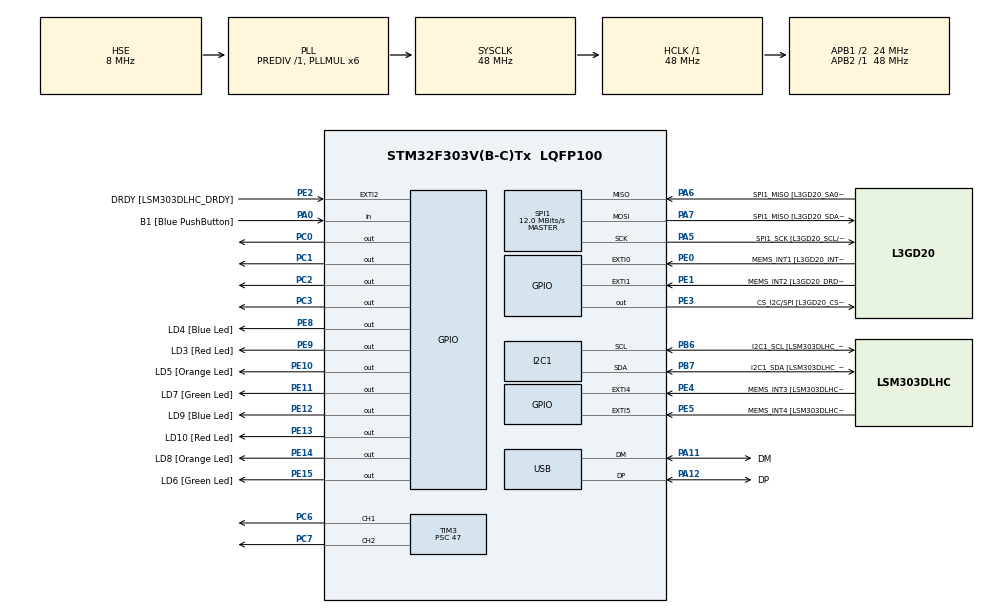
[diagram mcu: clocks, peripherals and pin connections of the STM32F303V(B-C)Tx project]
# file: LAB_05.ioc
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I2C1.Timing=0x00201D2B
I2C1.Timing-I2C=0x2000090E
Mcu.Family=STM32F3
Mcu.Name=STM32F303V(B-C)Tx
Mcu.Package=LQFP100
NVIC.PriorityGroup=NVIC_PRIORITYGROUP_0
PA0.GPIO_Label=B1 [Blue PushButton]
PA0.Signal=GPIO_Input
PA11.GPIO_Label=DM
PA11.Mode=Device
PA11.Signal=USB_DM
PA12.GPIO_Label=DP
PA12.Mode=Device
PA12.Signal=USB_DP
PA13.GPIO_Label=SWDIO
PA13.Mode=Serial_Wire
PA13.Signal=SYS_JTMS-SWDIO
PA14.GPIO_Label=SWCLK
PA14.Mode=Serial_Wire
PA14.Signal=SYS_JTCK-SWCLK
PA5.GPIO_Label=SPI1_SCK [L3GD20_SCL/SPC]
PA5.Mode=Full_Duplex_Master
PA5.Signal=SPI1_SCK
PA6.GPIO_Label=SPI1_MISO [L3GD20_SA0/SDO]
PA6.Mode=Full_Duplex_Master
PA6.Signal=SPI1_MISO
PA7.GPIO_Label=SPI1_MISO [L3GD20_SDA/SDI/SDO]
PA7.Mode=Full_Duplex_Master
PA7.Signal=SPI1_MOSI
PB3.GPIO_Label=SWO
PB3.Signal=SYS_JTDO-TRACESWO
PB6.GPIO_Label=I2C1_SCL [LSM303DLHC_SCL]
PB6.GPIO_Pu=GPIO_PULLUP
PB6.Mode=I2C
PB6.Signal=I2C1_SCL
PB7.GPIO_Label=I2C1_SDA [LSM303DLHC_SDA]
PB7.GPIO_Pu=GPIO_PULLUP
PB7.Mode=I2C
PB7.Signal=I2C1_SDA
PC0.Signal=GPIO_Output
PC1.Signal=GPIO_Output
PC14-OSC32_IN.GPIO_Label=OSC32_IN
PC14-OSC32_IN.Signal=RCC_OSC32_IN
PC15-OSC32_OUT.GPIO_Label=OSC32_OUT
PC15-OSC32_OUT.Signal=RCC_OSC32_OUT
PC2.Signal=GPIO_Output
PC3.Signal=GPIO_Output
PC6.Signal=S_TIM3_CH1
PC7.Signal=S_TIM3_CH2
PE0.GPIO_Label=MEMS_INT1 [L3GD20_INT1]
PE0.GPIO_ModeDefaultEXTI=GPIO_MODE_EVT_RISING
PE0.Signal=GPXTI0
PE1.GPIO_Label=MEMS_INT2 [L3GD20_DRDY/INT2]
PE1.GPIO_ModeDefaultEXTI=GPIO_MODE_EVT_RISING
PE1.Signal=GPXTI1
PE10.GPIO_Label=LD5 [Orange Led]
PE10.Signal=GPIO_Output
PE11.GPIO_Label=LD7 [Green Led]
PE11.Signal=GPIO_Output
PE12.GPIO_Label=LD9 [Blue Led]
PE12.Signal=GPIO_Output
PE13.GPIO_Label=LD10 [Red Led]
PE13.Signal=GPIO_Output
PE14.GPIO_Label=LD8 [Orange Led]
PE14.Signal=GPIO_Output
PE15.GPIO_Label=LD6 [Green Led]
PE15.Signal=GPIO_Output
PE2.GPIO_Label=DRDY [LSM303DLHC_DRDY]
PE2.GPIO_ModeDefaultEXTI=GPIO_MODE_EVT_RISING
PE2.Signal=GPXTI2
PE3.GPIO_Label=CS_I2C/SPI [L3GD20_CS_I2C/SPI]
PE3.Signal=GPIO_Output
PE4.GPIO_Label=MEMS_INT3 [LSM303DLHC_INT1]
PE4.GPIO_ModeDefaultEXTI=GPIO_MODE_EVT_RISING
PE4.Signal=GPXTI4
PE5.GPIO_Label=MEMS_INT4 [LSM303DLHC_INT2]
PE5.GPIO_ModeDefaultEXTI=GPIO_MODE_EVT_RISING
PE5.Signal=GPXTI5
PE8.GPIO_Label=LD4 [Blue Led]
PE8.Signal=GPIO_Output
PE9.GPIO_Label=LD3 [Red Led]
PE9.Signal=GPIO_Output
PF0-OSC_IN.GPIO_Label=OSC_IN
PF0-OSC_IN.Mode=HSE-External-Clock-Source
PF0-OSC_IN.Signal=RCC_OSC_IN
PF1-OSC_OUT.GPIO_Label=OSC_OUT
PF1-OSC_OUT.Signal=RCC_OSC_OUT
ProjectManager.HeapSize=0x200
ProjectManager.StackSize=0x400
ProjectManager.TargetToolchain=CMake
RCC.AHBFreq_Value=48000000
RCC.APB1CLKDivider=RCC_HCLK_DIV2
RCC.APB1Freq_Value=24000000
RCC.APB1TimFreq_Value=48000000
RCC.APB2Freq_Value=48000000
RCC.APB2TimFreq_Value=48000000
RCC.CortexFreq_Value=48000000
RCC.HCLKFreq_Value=48000000
RCC.HSE_VALUE=8000000
RCC.HSI_VALUE=8000000
RCC.LSE_VALUE=32768
RCC.PLLMUL=RCC_PLL_MUL6
RCC.SYSCLKFreq_VALUE=48000000
RCC.SYSCLKSourceVirtual=RCC_SYSCLKSOURCE_PLLCLK
RCC.USBFreq_Value=48000000
SH.S_TIM3_CH1.0=TIM3_CH1,PWM Generation1 CH1
SH.S_TIM3_CH2.0=TIM3_CH2,PWM Generation2 CH2
SPI1.BaudRatePrescaler=SPI_BAUDRATEPRESCALER_4
SPI1.BaudRatePrescaler-Full_Duplex_Master=SPI_BAUDRATEPRESCALER_2
SPI1.CalculateBaudRate=12.0 MBits/s
SPI1.CalculateBaudRate-Full_Duplex_Master=24.0 MBits/s
SPI1.Direction=SPI_DIRECTION_2LINES
SPI1.Mode=SPI_MODE_MASTER
SPI1.Mode-Full_Duplex_Master=SPI_MODE_MASTER
SPI1.VirtualType=VM_MASTER
TIM3.Channel-PWM\ Generation1\ CH1=TIM_CHANNEL_1
TIM3.Channel-PWM\ Generation2\ CH2=TIM_CHANNEL_2
TIM3.Period=999
TIM3.Prescaler=47
board=STM32F3DISCOVERY

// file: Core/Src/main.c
/* USER CODE BEGIN Header */
/**
  ******************************************************************************
  * @file           : main.c
  * @brief          : Main program body
  ******************************************************************************
  * @attention
  *
  * Copyright (c) 2026 STMicroelectronics.
  * All rights reserved.
  *
  * This software is licensed under terms that can be found in the LICENSE file
  * in the root directory of this software component.
  * If no LICENSE file comes with this software, it is provided AS-IS.
  *
  ******************************************************************************
  */
/* USER CODE END Header */
#include "main.h"

I2C_HandleTypeDef hi2c1;

SPI_HandleTypeDef hspi1;

TIM_HandleTypeDef htim3;

PCD_HandleTypeDef hpcd_USB_FS;

void SystemClock_Config(void);
static void MX_GPIO_Init(void);
static void MX_I2C1_Init(void);
static void MX_SPI1_Init(void);
static void MX_TIM3_Init(void);
static void MX_USB_PCD_Init(void);

/* USER CODE BEGIN 0 */
void right_mf(void){
  HAL_GPIO_WritePin(GPIOC, GPIO_PIN_0, GPIO_PIN_SET);
  HAL_GPIO_WritePin(GPIOC, GPIO_PIN_1, GPIO_PIN_RESET);

  __HAL_TIM_SET_COMPARE(&htim3, TIM_CHANNEL_1, 500);

}

void right_mr(void){
  HAL_GPIO_WritePin(GPIOC, GPIO_PIN_0, GPIO_PIN_RESET);
  HAL_GPIO_WritePin(GPIOC, GPIO_PIN_1, GPIO_PIN_SET);

  __HAL_TIM_SET_COMPARE(&htim3, TIM_CHANNEL_1, 500);

}

void left_mf(void){
  HAL_GPIO_WritePin(GPIOC, GPIO_PIN_2, GPIO_PIN_SET);
  HAL_GPIO_WritePin(GPIOC, GPIO_PIN_3, GPIO_PIN_RESET);

  __HAL_TIM_SET_COMPARE(&htim3, TIM_CHANNEL_2, 500);
}

void left_mr(void){
  HAL_GPIO_WritePin(GPIOC, GPIO_PIN_2, GPIO_PIN_RESET);
  HAL_GPIO_WritePin(GPIOC, GPIO_PIN_3, GPIO_PIN_SET);

  __HAL_TIM_SET_COMPARE(&htim3, TIM_CHANNEL_2, 500);
}
/* USER CODE END 0 */

int main(void)
{

  /* MCU Configuration--------------------------------------------------------*/

  /* Reset of all peripherals, Initializes the Flash interface and the Systick. */
  HAL_Init();

  /* Configure the system clock */
  SystemClock_Config();

  /* Initialize all configured peripherals */
  MX_GPIO_Init();
  MX_I2C1_Init();
  MX_SPI1_Init();
  MX_TIM3_Init();
  MX_USB_PCD_Init();
  /* USER CODE BEGIN 2 */
  // Start PWM
  HAL_TIM_PWM_Start (&htim3 , TIM_CHANNEL_1 );
  HAL_TIM_PWM_Start (&htim3 , TIM_CHANNEL_2 );

  /* USER CODE END 2 */

  /* Infinite loop */
  /* USER CODE BEGIN WHILE */
  while (1)
  {

      // TASK_1
      // for(uint16_t i = 0; i < 1000; i++)
      // {
      //     __HAL_TIM_SET_COMPARE(&htim3, TIM_CHANNEL_1, i);
      //     HAL_Delay(1);
      // }
      // for(uint16_t i = 1000; i > 0; i--)
      // {
      //     __HAL_TIM_SET_COMPARE(&htim3, TIM_CHANNEL_1, i);
      //     HAL_Delay(1);
      // }

      // TASK_2
      right_mf();
      left_mf();
      HAL_Delay(2000);
      right_mr();
      left_mr();
      HAL_Delay(2000);
    /* USER CODE END WHILE */

  }
}

void SystemClock_Config(void)
{
  RCC_OscInitTypeDef RCC_OscInitStruct = {0};
  RCC_ClkInitTypeDef RCC_ClkInitStruct = {0};
  RCC_PeriphCLKInitTypeDef PeriphClkInit = {0};

  /** Initializes the RCC Oscillators according to the specified parameters
  * in the RCC_OscInitTypeDef structure.
  */
  RCC_OscInitStruct.OscillatorType = RCC_OSCILLATORTYPE_HSI|RCC_OSCILLATORTYPE_HSE;
  RCC_OscInitStruct.HSEState = RCC_HSE_BYPASS;
  RCC_OscInitStruct.HSEPredivValue = RCC_HSE_PREDIV_DIV1;
  RCC_OscInitStruct.HSIState = RCC_HSI_ON;
  RCC_OscInitStruct.HSICalibrationValue = RCC_HSICALIBRATION_DEFAULT;
  RCC_OscInitStruct.PLL.PLLState = RCC_PLL_ON;
  RCC_OscInitStruct.PLL.PLLSource = RCC_PLLSOURCE_HSE;
  RCC_OscInitStruct.PLL.PLLMUL = RCC_PLL_MUL6;
  if (HAL_RCC_OscConfig(&RCC_OscInitStruct) != HAL_OK)
  {
    Error_Handler();
  }

  /** Initializes the CPU, AHB and APB buses clocks
  */
  RCC_ClkInitStruct.ClockType = RCC_CLOCKTYPE_HCLK|RCC_CLOCKTYPE_SYSCLK
                              |RCC_CLOCKTYPE_PCLK1|RCC_CLOCKTYPE_PCLK2;
  RCC_ClkInitStruct.SYSCLKSource = RCC_SYSCLKSOURCE_PLLCLK;
  RCC_ClkInitStruct.AHBCLKDivider = RCC_SYSCLK_DIV1;
  RCC_ClkInitStruct.APB1CLKDivider = RCC_HCLK_DIV2;
  RCC_ClkInitStruct.APB2CLKDivider = RCC_HCLK_DIV1;

  if (HAL_RCC_ClockConfig(&RCC_ClkInitStruct, FLASH_LATENCY_1) != HAL_OK)
  {
    Error_Handler();
  }
  PeriphClkInit.PeriphClockSelection = RCC_PERIPHCLK_USB|RCC_PERIPHCLK_I2C1;
  PeriphClkInit.I2c1ClockSelection = RCC_I2C1CLKSOURCE_HSI;
  PeriphClkInit.USBClockSelection = RCC_USBCLKSOURCE_PLL;
  if (HAL_RCCEx_PeriphCLKConfig(&PeriphClkInit) != HAL_OK)
  {
    Error_Handler();
  }
}

static void MX_I2C1_Init(void)
{

  hi2c1.Instance = I2C1;
  hi2c1.Init.Timing = 0x00201D2B;
  hi2c1.Init.OwnAddress1 = 0;
  hi2c1.Init.AddressingMode = I2C_ADDRESSINGMODE_7BIT;
  hi2c1.Init.DualAddressMode = I2C_DUALADDRESS_DISABLE;
  hi2c1.Init.OwnAddress2 = 0;
  hi2c1.Init.OwnAddress2Masks = I2C_OA2_NOMASK;
  hi2c1.Init.GeneralCallMode = I2C_GENERALCALL_DISABLE;
  hi2c1.Init.NoStretchMode = I2C_NOSTRETCH_DISABLE;
  if (HAL_I2C_Init(&hi2c1) != HAL_OK)
  {
    Error_Handler();
  }

  /** Configure Analogue filter
  */
  if (HAL_I2CEx_ConfigAnalogFilter(&hi2c1, I2C_ANALOGFILTER_ENABLE) != HAL_OK)
  {
    Error_Handler();
  }

  /** Configure Digital filter
  */
  if (HAL_I2CEx_ConfigDigitalFilter(&hi2c1, 0) != HAL_OK)
  {
    Error_Handler();
  }

}

static void MX_SPI1_Init(void)
{

  /* SPI1 parameter configuration*/
  hspi1.Instance = SPI1;
  hspi1.Init.Mode = SPI_MODE_MASTER;
  hspi1.Init.Direction = SPI_DIRECTION_2LINES;
  hspi1.Init.DataSize = SPI_DATASIZE_4BIT;
  hspi1.Init.CLKPolarity = SPI_POLARITY_LOW;
  hspi1.Init.CLKPhase = SPI_PHASE_1EDGE;
  hspi1.Init.NSS = SPI_NSS_SOFT;
  hspi1.Init.BaudRatePrescaler = SPI_BAUDRATEPRESCALER_4;
  hspi1.Init.FirstBit = SPI_FIRSTBIT_MSB;
  hspi1.Init.TIMode = SPI_TIMODE_DISABLE;
  hspi1.Init.CRCCalculation = SPI_CRCCALCULATION_DISABLE;
  hspi1.Init.CRCPolynomial = 7;
  hspi1.Init.CRCLength = SPI_CRC_LENGTH_DATASIZE;
  hspi1.Init.NSSPMode = SPI_NSS_PULSE_ENABLE;
  if (HAL_SPI_Init(&hspi1) != HAL_OK)
  {
    Error_Handler();
  }

}

static void MX_TIM3_Init(void)
{

  TIM_MasterConfigTypeDef sMasterConfig = {0};
  TIM_OC_InitTypeDef sConfigOC = {0};

  htim3.Instance = TIM3;
  htim3.Init.Prescaler = 47;
  htim3.Init.CounterMode = TIM_COUNTERMODE_UP;
  htim3.Init.Period = 999;
  htim3.Init.ClockDivision = TIM_CLOCKDIVISION_DIV1;
  htim3.Init.AutoReloadPreload = TIM_AUTORELOAD_PRELOAD_DISABLE;
  if (HAL_TIM_PWM_Init(&htim3) != HAL_OK)
  {
    Error_Handler();
  }
  sMasterConfig.MasterOutputTrigger = TIM_TRGO_RESET;
  sMasterConfig.MasterSlaveMode = TIM_MASTERSLAVEMODE_DISABLE;
  if (HAL_TIMEx_MasterConfigSynchronization(&htim3, &sMasterConfig) != HAL_OK)
  {
    Error_Handler();
  }
  sConfigOC.OCMode = TIM_OCMODE_PWM1;
  sConfigOC.Pulse = 0;
  sConfigOC.OCPolarity = TIM_OCPOLARITY_HIGH;
  sConfigOC.OCFastMode = TIM_OCFAST_DISABLE;
  if (HAL_TIM_PWM_ConfigChannel(&htim3, &sConfigOC, TIM_CHANNEL_1) != HAL_OK)
  {
    Error_Handler();
  }
  if (HAL_TIM_PWM_ConfigChannel(&htim3, &sConfigOC, TIM_CHANNEL_2) != HAL_OK)
  {
    Error_Handler();
  }
  HAL_TIM_MspPostInit(&htim3);

}

static void MX_USB_PCD_Init(void)
{

  hpcd_USB_FS.Instance = USB;
  hpcd_USB_FS.Init.dev_endpoints = 8;
  hpcd_USB_FS.Init.speed = PCD_SPEED_FULL;
  hpcd_USB_FS.Init.phy_itface = PCD_PHY_EMBEDDED;
  hpcd_USB_FS.Init.low_power_enable = DISABLE;
  hpcd_USB_FS.Init.battery_charging_enable = DISABLE;
  if (HAL_PCD_Init(&hpcd_USB_FS) != HAL_OK)
  {
    Error_Handler();
  }

}

static void MX_GPIO_Init(void)
{
  GPIO_InitTypeDef GPIO_InitStruct = {0};

  /* GPIO Ports Clock Enable */
  __HAL_RCC_GPIOE_CLK_ENABLE();
  __HAL_RCC_GPIOC_CLK_ENABLE();
  __HAL_RCC_GPIOF_CLK_ENABLE();
  __HAL_RCC_GPIOA_CLK_ENABLE();
  __HAL_RCC_GPIOB_CLK_ENABLE();

  /*Configure GPIO pin Output Level */
  HAL_GPIO_WritePin(GPIOE, CS_I2C_SPI_Pin|LD4_Pin|LD3_Pin|LD5_Pin
                          |LD7_Pin|LD9_Pin|LD10_Pin|LD8_Pin
                          |LD6_Pin, GPIO_PIN_RESET);

  /*Configure GPIO pin Output Level */
  HAL_GPIO_WritePin(GPIOC, GPIO_PIN_0|GPIO_PIN_1|GPIO_PIN_2|GPIO_PIN_3, GPIO_PIN_RESET);

  /*Configure GPIO pins : DRDY_Pin MEMS_INT3_Pin MEMS_INT4_Pin MEMS_INT1_Pin
                           MEMS_INT2_Pin */
  GPIO_InitStruct.Pin = DRDY_Pin|MEMS_INT3_Pin|MEMS_INT4_Pin|MEMS_INT1_Pin
                          |MEMS_INT2_Pin;
  GPIO_InitStruct.Mode = GPIO_MODE_EVT_RISING;
  GPIO_InitStruct.Pull = GPIO_NOPULL;
  HAL_GPIO_Init(GPIOE, &GPIO_InitStruct);

  /*Configure GPIO pins : CS_I2C_SPI_Pin LD4_Pin LD3_Pin LD5_Pin
                           LD7_Pin LD9_Pin LD10_Pin LD8_Pin
                           LD6_Pin */
  GPIO_InitStruct.Pin = CS_I2C_SPI_Pin|LD4_Pin|LD3_Pin|LD5_Pin
                          |LD7_Pin|LD9_Pin|LD10_Pin|LD8_Pin
                          |LD6_Pin;
  GPIO_InitStruct.Mode = GPIO_MODE_OUTPUT_PP;
  GPIO_InitStruct.Pull = GPIO_NOPULL;
  GPIO_InitStruct.Speed = GPIO_SPEED_FREQ_LOW;
  HAL_GPIO_Init(GPIOE, &GPIO_InitStruct);

  /*Configure GPIO pins : PC0 PC1 PC2 PC3 */
  GPIO_InitStruct.Pin = GPIO_PIN_0|GPIO_PIN_1|GPIO_PIN_2|GPIO_PIN_3;
  GPIO_InitStruct.Mode = GPIO_MODE_OUTPUT_PP;
  GPIO_InitStruct.Pull = GPIO_NOPULL;
  GPIO_InitStruct.Speed = GPIO_SPEED_FREQ_LOW;
  HAL_GPIO_Init(GPIOC, &GPIO_InitStruct);

  /*Configure GPIO pin : B1_Pin */
  GPIO_InitStruct.Pin = B1_Pin;
  GPIO_InitStruct.Mode = GPIO_MODE_INPUT;
  GPIO_InitStruct.Pull = GPIO_NOPULL;
  HAL_GPIO_Init(B1_GPIO_Port, &GPIO_InitStruct);

}

void Error_Handler(void)
{
  __disable_irq();
  while (1)
  {
  }
}
